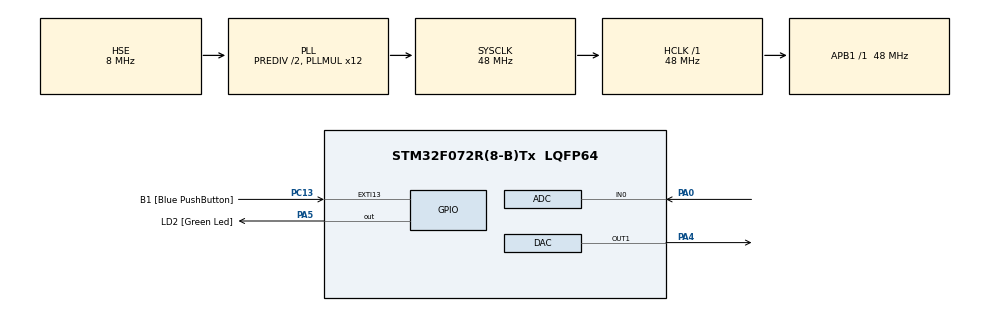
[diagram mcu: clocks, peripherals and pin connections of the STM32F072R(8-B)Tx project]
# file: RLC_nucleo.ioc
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DAC.DAC_Trigger=DAC_TRIGGER_T2_TRGO
Dma.DAC_CH1.0.Direction=DMA_MEMORY_TO_PERIPH
Dma.DAC_CH1.0.Instance=DMA1_Channel3
Dma.DAC_CH1.0.MemDataAlignment=DMA_MDATAALIGN_WORD
Dma.DAC_CH1.0.MemInc=DMA_MINC_ENABLE
Dma.DAC_CH1.0.Mode=DMA_CIRCULAR
Dma.DAC_CH1.0.PeriphDataAlignment=DMA_PDATAALIGN_WORD
Dma.DAC_CH1.0.PeriphInc=DMA_PINC_DISABLE
Dma.DAC_CH1.0.Priority=DMA_PRIORITY_HIGH
Dma.Request0=DAC_CH1
Mcu.Family=STM32F0
Mcu.Name=STM32F072R(8-B)Tx
Mcu.Package=LQFP64
NVIC.DMA1_Channel2_3_IRQn=true\:0\:0\:false\:false\:true\:false\:true\:true
PA0.Mode=IN0
PA0.Signal=ADC_IN0
PA13.GPIO_Label=TMS
PA13.Signal=SYS_SWDIO
PA14.GPIO_Label=TCK
PA14.Signal=SYS_SWCLK
PA2.GPIO_Label=USART_TX
PA2.GPIO_Mode=GPIO_MODE_AF_PP
PA2.GPIO_PuPd=GPIO_NOPULL
PA2.GPIO_Speed=GPIO_SPEED_FREQ_LOW
PA2.Signal=USART2_TX
PA3.GPIO_Label=USART_RX
PA3.GPIO_Mode=GPIO_MODE_AF_PP
PA3.GPIO_PuPd=GPIO_NOPULL
PA3.GPIO_Speed=GPIO_SPEED_FREQ_LOW
PA3.Signal=USART2_RX
PA4.Signal=COMP_DAC1_group
PA5.GPIO_Label=LD2 [Green Led]
PA5.GPIO_Mode=GPIO_MODE_OUTPUT_PP
PA5.GPIO_PuPd=GPIO_NOPULL
PA5.GPIO_Speed=GPIO_SPEED_FREQ_LOW
PA5.Signal=GPIO_Output
PC13.GPIO_Label=B1 [Blue PushButton]
PC13.GPIO_ModeDefaultEXTI=GPIO_MODE_IT_FALLING
PC13.Signal=GPXTI13
PC14-OSC32_IN.Mode=LSE-External-Oscillator
PC14-OSC32_IN.Signal=RCC_OSC32_IN
PC15-OSC32_OUT.Mode=LSE-External-Oscillator
PC15-OSC32_OUT.Signal=RCC_OSC32_OUT
PF0-OSC_IN.Mode=HSE-External-Oscillator
PF0-OSC_IN.Signal=RCC_OSC_IN
PF1-OSC_OUT.Mode=HSE-External-Oscillator
PF1-OSC_OUT.Signal=RCC_OSC_OUT
ProjectManager.HeapSize=0x200
ProjectManager.StackSize=0x400
ProjectManager.TargetToolchain=STM32CubeIDE
RCC.AHBFreq_Value=48000000
RCC.APB1Freq_Value=48000000
RCC.APB1TimFreq_Value=48000000
RCC.FLatency-AdvancedSettings=FLASH_LATENCY_1
RCC.HCLKFreq_Value=48000000
RCC.PLLDivider=RCC_PREDIV_DIV2
RCC.PLLMUL=RCC_PLL_MUL12
RCC.PLLSourceVirtual=RCC_PLLSOURCE_HSE
RCC.SYSCLKFreq_VALUE=48000000
RCC.SYSCLKSource=RCC_SYSCLKSOURCE_PLLCLK
SH.COMP_DAC1_group.0=DAC_OUT1,DAC_OUT1
TIM2.Period=624
TIM2.TIM_MasterOutputTrigger=TIM_TRGO_UPDATE
VP_TIM2_VS_ClockSourceINT.Mode=Internal
board=NUCLEO-F072RB

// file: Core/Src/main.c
/* USER CODE BEGIN Header */
/**
  ******************************************************************************
  * @file           : main.c
  * @brief          : Main program body
  ******************************************************************************
  * @attention
  *
  * Copyright (c) 2023 STMicroelectronics.
  * All rights reserved.
  *
  * This software is licensed under terms that can be found in the LICENSE file
  * in the root directory of this software component.
  * If no LICENSE file comes with this software, it is provided AS-IS.
  *
  ******************************************************************************
  */
/* USER CODE END Header */
#include "main.h"

/* USER CODE BEGIN PD */
#define NS  128

uint32_t Wave_LUT[NS] = {
    2048, 2149, 2250, 2350, 2450, 2549, 2646, 2742, 2837, 2929, 3020, 3108, 3193, 3275, 3355,
    3431, 3504, 3574, 3639, 3701, 3759, 3812, 3861, 3906, 3946, 3982, 4013, 4039, 4060, 4076,
    4087, 4094, 4095, 4091, 4082, 4069, 4050, 4026, 3998, 3965, 3927, 3884, 3837, 3786, 3730,
    3671, 3607, 3539, 3468, 3394, 3316, 3235, 3151, 3064, 2975, 2883, 2790, 2695, 2598, 2500,
    2400, 2300, 2199, 2098, 1997, 1896, 1795, 1695, 1595, 1497, 1400, 1305, 1212, 1120, 1031,
    944, 860, 779, 701, 627, 556, 488, 424, 365, 309, 258, 211, 168, 130, 97,
    69, 45, 26, 13, 4, 0, 1, 8, 19, 35, 56, 82, 113, 149, 189,
    234, 283, 336, 394, 456, 521, 591, 664, 740, 820, 902, 987, 1075, 1166, 1258,
    1353, 1449, 1546, 1645, 1745, 1845, 1946, 2047
};
/* USER CODE END PD */

ADC_HandleTypeDef hadc;

DAC_HandleTypeDef hdac;
DMA_HandleTypeDef hdma_dac_ch1;

TIM_HandleTypeDef htim2;

void SystemClock_Config(void);
static void MX_GPIO_Init(void);
static void MX_DMA_Init(void);
static void MX_DAC_Init(void);
static void MX_TIM2_Init(void);
static void MX_ADC_Init(void);

int main(void)
{

  /* MCU Configuration--------------------------------------------------------*/

  /* Reset of all peripherals, Initializes the Flash interface and the Systick. */
  HAL_Init();

  /* Configure the system clock */
  SystemClock_Config();

  /* Initialize all configured peripherals */
  MX_GPIO_Init();
  MX_DMA_Init();
  MX_DAC_Init();
  MX_TIM2_Init();
  MX_ADC_Init();
  /* USER CODE BEGIN 2 */
  HAL_DAC_Start_DMA(&hdac, DAC_CHANNEL_1, (uint32_t*)Wave_LUT, 128, DAC_ALIGN_12B_R);
  HAL_TIM_Base_Start(&htim2);
  /* USER CODE END 2 */

  /* Infinite loop */
  /* USER CODE BEGIN WHILE */
  while (1)
  {
	  if (HAL_GPIO_ReadPin(GPIOC, GPIO_PIN_13) == GPIO_PIN_SET) {
		  __HAL_TIM_SET_AUTORELOAD(&htim2,312); //zmienia arr licznika
	  }
	  else{
		  __HAL_TIM_SET_AUTORELOAD(&htim2,624); //zmienia arr licznika
	  }
    /* USER CODE END WHILE */

  }
}

void SystemClock_Config(void)
{
  RCC_OscInitTypeDef RCC_OscInitStruct = {0};
  RCC_ClkInitTypeDef RCC_ClkInitStruct = {0};

  /** Initializes the RCC Oscillators according to the specified parameters
  * in the RCC_OscInitTypeDef structure.
  */
  RCC_OscInitStruct.OscillatorType = RCC_OSCILLATORTYPE_HSI14|RCC_OSCILLATORTYPE_HSE;
  RCC_OscInitStruct.HSEState = RCC_HSE_ON;
  RCC_OscInitStruct.HSI14State = RCC_HSI14_ON;
  RCC_OscInitStruct.HSI14CalibrationValue = 16;
  RCC_OscInitStruct.PLL.PLLState = RCC_PLL_ON;
  RCC_OscInitStruct.PLL.PLLSource = RCC_PLLSOURCE_HSE;
  RCC_OscInitStruct.PLL.PLLMUL = RCC_PLL_MUL12;
  RCC_OscInitStruct.PLL.PREDIV = RCC_PREDIV_DIV2;
  if (HAL_RCC_OscConfig(&RCC_OscInitStruct) != HAL_OK)
  {
    Error_Handler();
  }

  /** Initializes the CPU, AHB and APB buses clocks
  */
  RCC_ClkInitStruct.ClockType = RCC_CLOCKTYPE_HCLK|RCC_CLOCKTYPE_SYSCLK
                              |RCC_CLOCKTYPE_PCLK1;
  RCC_ClkInitStruct.SYSCLKSource = RCC_SYSCLKSOURCE_PLLCLK;
  RCC_ClkInitStruct.AHBCLKDivider = RCC_SYSCLK_DIV1;
  RCC_ClkInitStruct.APB1CLKDivider = RCC_HCLK_DIV1;

  if (HAL_RCC_ClockConfig(&RCC_ClkInitStruct, FLASH_LATENCY_1) != HAL_OK)
  {
    Error_Handler();
  }
}

static void MX_ADC_Init(void)
{

  ADC_ChannelConfTypeDef sConfig = {0};

  /** Configure the global features of the ADC (Clock, Resolution, Data Alignment and number of conversion)
  */
  hadc.Instance = ADC1;
  hadc.Init.ClockPrescaler = ADC_CLOCK_ASYNC_DIV1;
  hadc.Init.Resolution = ADC_RESOLUTION_12B;
  hadc.Init.DataAlign = ADC_DATAALIGN_RIGHT;
  hadc.Init.ScanConvMode = ADC_SCAN_DIRECTION_FORWARD;
  hadc.Init.EOCSelection = ADC_EOC_SINGLE_CONV;
  hadc.Init.LowPowerAutoWait = DISABLE;
  hadc.Init.LowPowerAutoPowerOff = DISABLE;
  hadc.Init.ContinuousConvMode = DISABLE;
  hadc.Init.DiscontinuousConvMode = DISABLE;
  hadc.Init.ExternalTrigConv = ADC_SOFTWARE_START;
  hadc.Init.ExternalTrigConvEdge = ADC_EXTERNALTRIGCONVEDGE_NONE;
  hadc.Init.DMAContinuousRequests = DISABLE;
  hadc.Init.Overrun = ADC_OVR_DATA_PRESERVED;
  if (HAL_ADC_Init(&hadc) != HAL_OK)
  {
    Error_Handler();
  }

  /** Configure for the selected ADC regular channel to be converted.
  */
  sConfig.Channel = ADC_CHANNEL_0;
  sConfig.Rank = ADC_RANK_CHANNEL_NUMBER;
  sConfig.SamplingTime = ADC_SAMPLETIME_1CYCLE_5;
  if (HAL_ADC_ConfigChannel(&hadc, &sConfig) != HAL_OK)
  {
    Error_Handler();
  }

}

static void MX_DAC_Init(void)
{

  DAC_ChannelConfTypeDef sConfig = {0};

  /** DAC Initialization
  */
  hdac.Instance = DAC;
  if (HAL_DAC_Init(&hdac) != HAL_OK)
  {
    Error_Handler();
  }

  /** DAC channel OUT1 config
  */
  sConfig.DAC_Trigger = DAC_TRIGGER_T2_TRGO;
  sConfig.DAC_OutputBuffer = DAC_OUTPUTBUFFER_ENABLE;
  if (HAL_DAC_ConfigChannel(&hdac, &sConfig, DAC_CHANNEL_1) != HAL_OK)
  {
    Error_Handler();
  }

}

static void MX_TIM2_Init(void)
{

  TIM_ClockConfigTypeDef sClockSourceConfig = {0};
  TIM_MasterConfigTypeDef sMasterConfig = {0};

  htim2.Instance = TIM2;
  htim2.Init.Prescaler = 0;
  htim2.Init.CounterMode = TIM_COUNTERMODE_UP;
  htim2.Init.Period = 624;
  htim2.Init.ClockDivision = TIM_CLOCKDIVISION_DIV1;
  htim2.Init.AutoReloadPreload = TIM_AUTORELOAD_PRELOAD_DISABLE;
  if (HAL_TIM_Base_Init(&htim2) != HAL_OK)
  {
    Error_Handler();
  }
  sClockSourceConfig.ClockSource = TIM_CLOCKSOURCE_INTERNAL;
  if (HAL_TIM_ConfigClockSource(&htim2, &sClockSourceConfig) != HAL_OK)
  {
    Error_Handler();
  }
  sMasterConfig.MasterOutputTrigger = TIM_TRGO_UPDATE;
  sMasterConfig.MasterSlaveMode = TIM_MASTERSLAVEMODE_DISABLE;
  if (HAL_TIMEx_MasterConfigSynchronization(&htim2, &sMasterConfig) != HAL_OK)
  {
    Error_Handler();
  }

}

static void MX_DMA_Init(void)
{

  /* DMA controller clock enable */
  __HAL_RCC_DMA1_CLK_ENABLE();

  /* DMA interrupt init */
  /* DMA1_Channel2_3_IRQn interrupt configuration */
  HAL_NVIC_SetPriority(DMA1_Channel2_3_IRQn, 0, 0);
  HAL_NVIC_EnableIRQ(DMA1_Channel2_3_IRQn);

}

static void MX_GPIO_Init(void)
{
  GPIO_InitTypeDef GPIO_InitStruct = {0};

  /* GPIO Ports Clock Enable */
  __HAL_RCC_GPIOC_CLK_ENABLE();
  __HAL_RCC_GPIOF_CLK_ENABLE();
  __HAL_RCC_GPIOA_CLK_ENABLE();

  /*Configure GPIO pin Output Level */
  HAL_GPIO_WritePin(LD2_GPIO_Port, LD2_Pin, GPIO_PIN_RESET);

  /*Configure GPIO pin : B1_Pin */
  GPIO_InitStruct.Pin = B1_Pin;
  GPIO_InitStruct.Mode = GPIO_MODE_IT_FALLING;
  GPIO_InitStruct.Pull = GPIO_NOPULL;
  HAL_GPIO_Init(B1_GPIO_Port, &GPIO_InitStruct);

  /*Configure GPIO pins : USART_TX_Pin USART_RX_Pin */
  GPIO_InitStruct.Pin = USART_TX_Pin|USART_RX_Pin;
  GPIO_InitStruct.Mode = GPIO_MODE_AF_PP;
  GPIO_InitStruct.Pull = GPIO_NOPULL;
  GPIO_InitStruct.Speed = GPIO_SPEED_FREQ_LOW;
  GPIO_InitStruct.Alternate = GPIO_AF1_USART2;
  HAL_GPIO_Init(GPIOA, &GPIO_InitStruct);

  /*Configure GPIO pin : LD2_Pin */
  GPIO_InitStruct.Pin = LD2_Pin;
  GPIO_InitStruct.Mode = GPIO_MODE_OUTPUT_PP;
  GPIO_InitStruct.Pull = GPIO_NOPULL;
  GPIO_InitStruct.Speed = GPIO_SPEED_FREQ_LOW;
  HAL_GPIO_Init(LD2_GPIO_Port, &GPIO_InitStruct);

}

void Error_Handler(void)
{
  __disable_irq();
  while (1)
  {
  }
}
